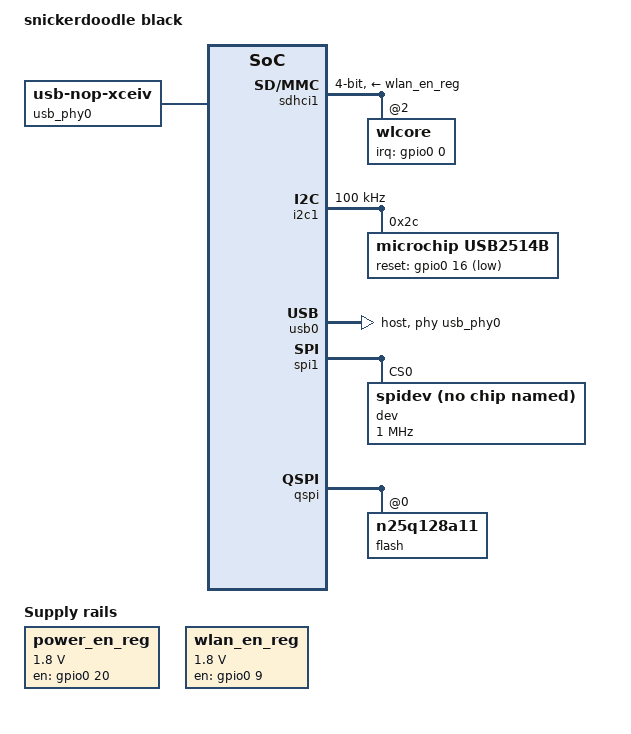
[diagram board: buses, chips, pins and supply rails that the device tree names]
/include/ "system-conf.dtsi"

#include <dt-bindings/gpio/gpio.h>

/ {
    model = "snickerdoodle black";

    xlnk {
        compatible = "xlnx,xlnk-1.0";
    };

    power_en_reg: fixed-regulator-powen {
        compatible = "regulator-fixed";
        regulator-name = "power-en-regulator";
        gpio = <&gpio0 20 0>;
        regulator-min-microvolt = <1800000>;
        regulator-max-microvolt = <1800000>;
        regulator-always-on;
        enable-active-high;
    };

    wlan_en_reg: fixedregulator@2 {
        compatible = "regulator-fixed";
        regulator-name = "wlan-en-regulator";
        regulator-min-microvolt = <1800000>;
        regulator-max-microvolt = <1800000>;
        startup-delay-us = <70000>;

        /* WLAN_EN GPIO for this board - Bank1, pin16 */
        gpio = <&gpio0 9 GPIO_ACTIVE_HIGH>;
        enable-active-high;
    };

    usb_phy0: phy0 {
        compatible = "usb-nop-xceiv";
        /*compatible = "ulpi-phy";*/
        #phy-cells = <0>;
        view-port = <0x170>;
        drv-vbus;
    };
};

&sdhci1 {
    status = "okay";

    vmmc-supply = <&wlan_en_reg>;
    bus-width = <4>;
    cap-power-off-card;
    keep-power-in-suspend;
    #address-cells = <1>;
    #size-cells = <0>;

    wlcore: wlcore@2 {
        compatible = "ti,wl1837";
        reg = <2>;
        interrupt-parent = <&gpio0>;
        interrupts = <0 IRQ_TYPE_LEVEL_HIGH>;
    };
};

&wlcore {
    compatible = "wlcore", "ti,wl1837";
};

&i2c1 {
    status = "okay";
    clock-frequency = <100000>;
    #address-cells = <1>;
    #size-cells = <0>;

    usb2514b@2c {
        compatible = "microchip,usb2514b";
        reg = <0x2c>;
        reset-gpios = <&gpio0 16 GPIO_ACTIVE_LOW>;
    };
};

&usb0 {
    status = "okay";
    dr_mode = "host";
    usb-phy = <&usb_phy0>;
};

&spi1 {
    status = "okay";

    dev@0 {
        compatible = "linux,spidev";
        reg = <0>;
        spi-max-frequency = <1000000>;
    };
};

&qspi {
    status = "okay";
    /*xlnx,qspi-mode = <0>;*/   /* Currenlty unused. */

    flash@0 {
        /* n25q128a: 16MiB */
        compatible = "n25q128a11", "jedec,spi-nor";
        m25p,fast-read;
    };
};
